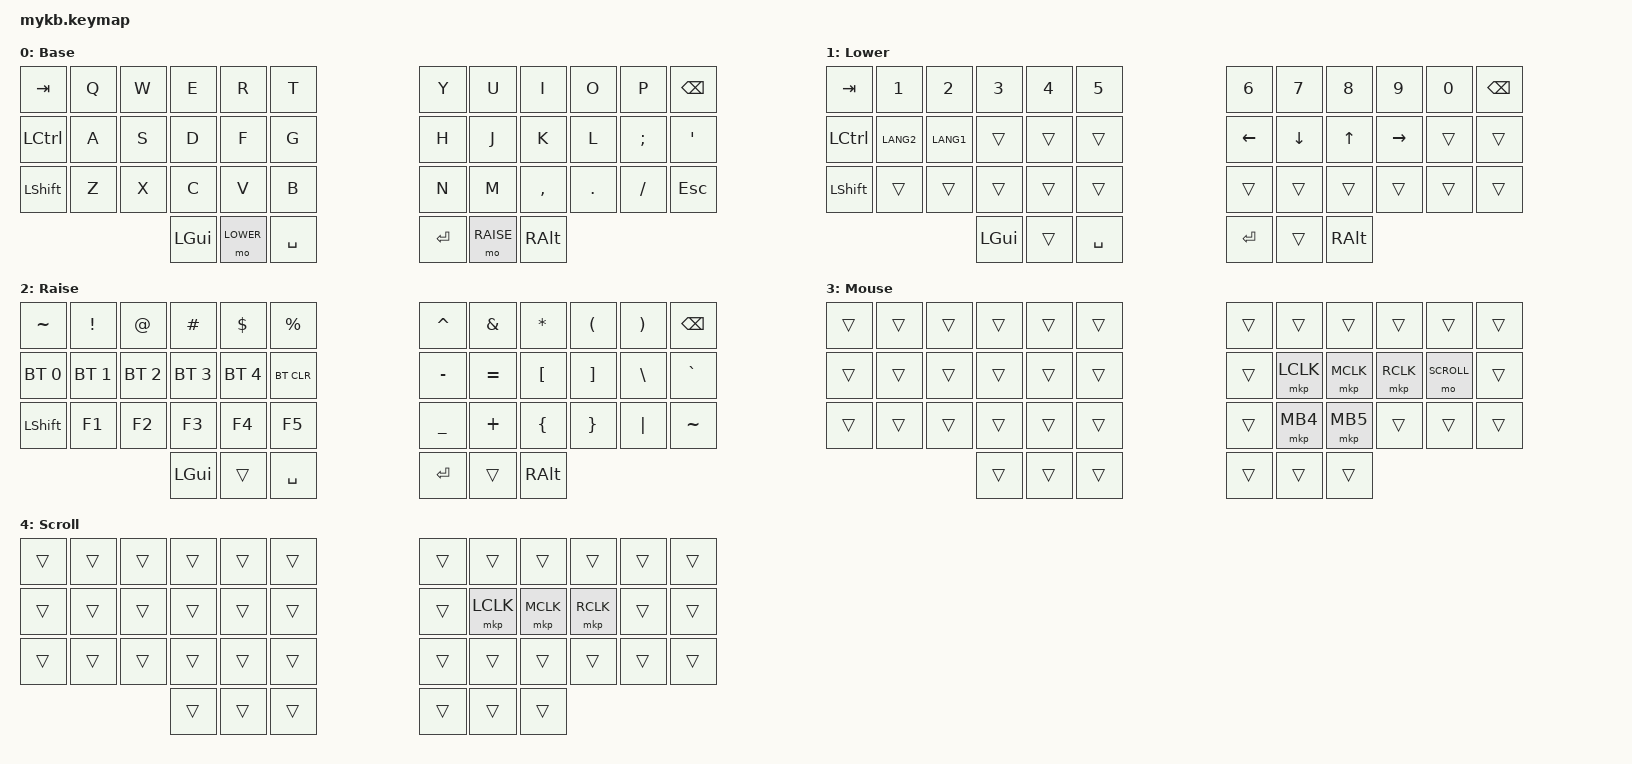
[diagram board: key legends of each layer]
/*
 * mykb キーマップ
 *
 * キーの割り当てはこのファイルを編集して変更します。
 * キーコード一覧: https://zmk.dev/docs/keymaps/list-of-keycodes
 */

#include <behaviors.dtsi>
#include <dt-bindings/zmk/keys.h>
#include <dt-bindings/zmk/bt.h>
#include <dt-bindings/zmk/pointing.h>
#include <input/processors.dtsi>

// レイヤー番号に名前を付けておく (数字を直接書くより分かりやすい)
#define BASE   0
#define LOWER  1
#define RAISE  2
#define MOUSE  3
#define SCROLL 4

/*
 * ===== トラックボールの動作設定 =====
 * - ボールを動かすと MOUSE レイヤーが自動でONになる (オートマウスレイヤー)
 *   → 右手ホームポジションのキーがクリックになる
 * - SCROLL レイヤー中はボールでスクロールする
 */
&zip_temp_layer {
    // 文字入力の直後 300ms はボールに触れてもマウスレイヤーにしない (誤爆防止)
    require-prior-idle-ms = <300>;
};

&trackball_listener {
    // 通常時: ボールを動かすと MOUSE レイヤーを 700ms だけONにする
    input-processors = <&zip_temp_layer MOUSE 700>;

    scroller {
        layers = <SCROLL>;
        // XY移動をスクロールに変換し、速度を 1/8 に落とす
        // スクロール方向が逆なら &zip_scroll_transform INPUT_TRANSFORM_Y_INVERT を追加
        input-processors = <&zip_xy_to_scroll_mapper &zip_scroll_scaler 1 8>;
    };
};

/ {
    keymap {
        compatible = "zmk,keymap";

        // 0: 基本レイヤー (QWERTY)
        base_layer {
            display-name = "Base";
            bindings = <
&kp TAB   &kp Q &kp W &kp E    &kp R     &kp T        &kp Y   &kp U     &kp I     &kp O   &kp P    &kp BSPC
&kp LCTRL &kp A &kp S &kp D    &kp F     &kp G        &kp H   &kp J     &kp K     &kp L   &kp SEMI &kp SQT
&kp LSHFT &kp Z &kp X &kp C    &kp V     &kp B        &kp N   &kp M     &kp COMMA &kp DOT &kp FSLH &kp ESC
                      &kp LGUI &mo LOWER &kp SPACE    &kp RET &mo RAISE &kp RALT
            >;
        };

        // 1: 数字・記号
        lower_layer {
            display-name = "Lower";
            bindings = <
&kp TAB   &kp N1    &kp N2    &kp N3   &kp N4    &kp N5       &kp N6   &kp N7    &kp N8    &kp N9    &kp N0   &kp BSPC
&kp LCTRL &kp LANG2 &kp LANG1 &trans   &trans    &trans       &kp LEFT &kp DOWN  &kp UP    &kp RIGHT &trans   &trans
&kp LSHFT &trans    &trans    &trans   &trans    &trans       &trans   &trans    &trans    &trans    &trans   &trans
                              &kp LGUI &trans    &kp SPACE    &kp RET  &trans    &kp RALT
            >;
        };

        // 2: 記号・ファンクション・Bluetooth
        raise_layer {
            display-name = "Raise";
            bindings = <
&kp TILDE    &kp EXCL     &kp AT       &kp HASH     &kp DLLR     &kp PRCNT    &kp CARET &kp AMPS  &kp ASTRK &kp LPAR &kp RPAR &kp BSPC
&bt BT_SEL 0 &bt BT_SEL 1 &bt BT_SEL 2 &bt BT_SEL 3 &bt BT_SEL 4 &bt BT_CLR   &kp MINUS &kp EQUAL &kp LBKT  &kp RBKT &kp BSLH &kp GRAVE
&kp LSHFT    &kp F1       &kp F2       &kp F3       &kp F4       &kp F5       &kp UNDER &kp PLUS  &kp LBRC  &kp RBRC &kp PIPE &kp TILDE
                                       &kp LGUI     &trans       &kp SPACE    &kp RET   &trans    &kp RALT
            >;
        };

        // 3: マウス (ボールを動かすと自動でON)
        //    右手 J=左クリック K=中クリック L=右クリック ;=スクロール
        mouse_layer {
            display-name = "Mouse";
            bindings = <
&trans &trans &trans &trans &trans &trans    &trans &trans    &trans    &trans    &trans     &trans
&trans &trans &trans &trans &trans &trans    &trans &mkp LCLK &mkp MCLK &mkp RCLK &mo SCROLL &trans
&trans &trans &trans &trans &trans &trans    &trans &mkp MB4  &mkp MB5  &trans    &trans     &trans
                     &trans &trans &trans    &trans &trans    &trans
            >;
        };

        // 4: スクロール (MOUSE レイヤーの ; キーを押している間)
        scroll_layer {
            display-name = "Scroll";
            bindings = <
&trans &trans &trans &trans &trans &trans    &trans &trans    &trans    &trans    &trans &trans
&trans &trans &trans &trans &trans &trans    &trans &mkp LCLK &mkp MCLK &mkp RCLK &trans &trans
&trans &trans &trans &trans &trans &trans    &trans &trans    &trans    &trans    &trans &trans
                     &trans &trans &trans    &trans &trans    &trans
            >;
        };
    };
};
